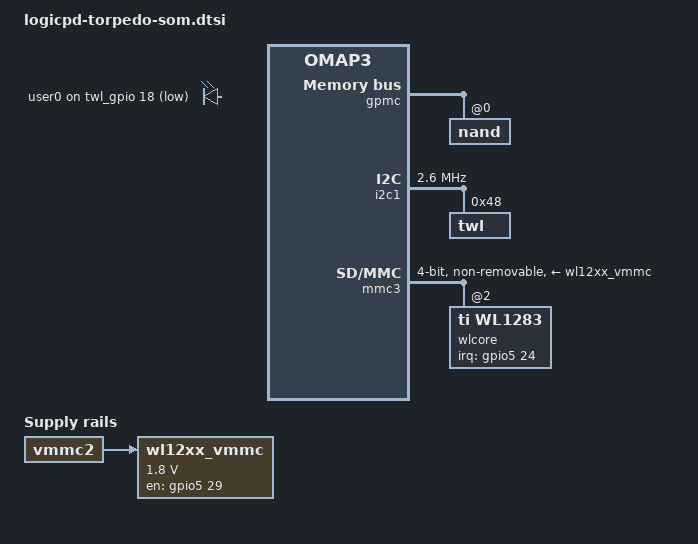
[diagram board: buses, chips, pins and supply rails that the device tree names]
/*
 * This program is free software; you can redistribute it and/or modify
 * it under the terms of the GNU General Public License version 2 as
 * published by the Free Software Foundation.
 */

#include <dt-bindings/input/input.h>

/ {
	cpus {
		cpu@0 {
			cpu0-supply = <&vcc>;
		};
	};

	leds {
		compatible = "gpio-leds";
		user0 {
			label = "user0";
			gpios = <&twl_gpio 18 GPIO_ACTIVE_LOW>;	/* LEDA */
			linux,default-trigger = "none";
		};
	};

	wl12xx_vmmc: wl12xx_vmmc {
		compatible = "regulator-fixed";
		regulator-name = "vwl1271";
		regulator-min-microvolt = <1800000>;
		regulator-max-microvolt = <1800000>;
		gpio = <&gpio5 29 0>;   /* gpio157 */
		startup-delay-us = <70000>;
		enable-active-high;
		vin-supply = <&vmmc2>;
	};
};

&gpmc {
	ranges = <0 0 0x00000000 0x1000000>;	/* CS0: 16MB for NAND */

	nand@0,0 {
		linux,mtd-name = "micron,mt29f4g16abbda3w";
		reg = <0 0 4>; /* CS0, offset 0, IO size 4 */
		nand-bus-width = <16>;
		ti,nand-ecc-opt = "bch8";
		gpmc,sync-clk-ps = <0>;
		gpmc,cs-on-ns = <0>;
		gpmc,cs-rd-off-ns = <44>;
		gpmc,cs-wr-off-ns = <44>;
		gpmc,adv-on-ns = <6>;
		gpmc,adv-rd-off-ns = <34>;
		gpmc,adv-wr-off-ns = <44>;
		gpmc,we-off-ns = <40>;
		gpmc,oe-off-ns = <54>;
		gpmc,access-ns = <64>;
		gpmc,rd-cycle-ns = <82>;
		gpmc,wr-cycle-ns = <82>;
		gpmc,wr-access-ns = <40>;
		gpmc,wr-data-mux-bus-ns = <0>;
		gpmc,device-width = <2>;
		#address-cells = <1>;
		#size-cells = <1>;

		/* u-boot uses mtdparts=omap2-nand.0:512k(x-loader),1920k(u-boot),128k(u-boot-env),4m(kernel),-(fs) */

		x-loader@0 {
			label = "x-loader";
			reg = <0 0x80000>;
		};

		bootloaders@80000 {
			label = "u-boot";
			reg = <0x80000 0x1e0000>;
		};

		bootloaders_env@260000 {
			label = "u-boot-env";
			reg = <0x260000 0x20000>;
		};

		kernel@280000 {
			label = "kernel";
			reg = <0x280000 0x400000>;
		};

		filesystem@680000 {
			label = "fs";
			reg = <0x680000 0>;	/* 0 = MTDPART_SIZ_FULL */
		};
	};
};

&i2c1 {
	pinctrl-names = "default";
	pinctrl-0 = <&i2c1_pins>;
	clock-frequency = <2600000>;

	twl: twl@48 {
		reg = <0x48>;
		interrupts = <7>; /* SYS_NIRQ cascaded to intc */
		interrupt-parent = <&intc>;
	};
};

/*
 * Only found on the wireless SOM. For the SOM without wireless, the pins for
 * MMC3 can be routed with jumpers to the second MMC slot on the devkit and
 * gpio157 is not connected. So this should be OK to keep common for now,
 * probably device tree overlays is the way to go with the various SOM and
 * jumpering combinations for the long run.
 */
&mmc3 {
	interrupts-extended = <&intc 94 &omap3_pmx_core2 0x46>;
	pinctrl-0 = <&mmc3_pins &mmc3_core2_pins>;
	pinctrl-names = "default";
	vmmc-supply = <&wl12xx_vmmc>;
	non-removable;
	bus-width = <4>;
	cap-power-off-card;
	#address-cells = <1>;
	#size-cells = <0>;
	wlcore: wlcore@2 {
		compatible = "ti,wl1283";
		reg = <2>;
		interrupt-parent = <&gpio5>;
		interrupts = <24 IRQ_TYPE_LEVEL_HIGH>; /* gpio 152 */
		ref-clock-frequency = <26000000>;
		tcxo-clock-frequency = <26000000>;
	};
};

&omap3_pmx_core {
	mmc3_pins: pinmux_mm3_pins {
		pinctrl-single,pins = <
			OMAP3_CORE1_IOPAD(0x2164, PIN_INPUT_PULLUP | MUX_MODE3)	/* sdmmc2_dat4.sdmmc3_dat0 */
			OMAP3_CORE1_IOPAD(0x2166, PIN_INPUT_PULLUP | MUX_MODE3)	/* sdmmc2_dat5.sdmmc3_dat1 */
			OMAP3_CORE1_IOPAD(0x2168, PIN_INPUT_PULLUP | MUX_MODE3)	/* sdmmc2_dat6.sdmmc3_dat2 */
			OMAP3_CORE1_IOPAD(0x216a, PIN_INPUT_PULLUP | MUX_MODE3)	/* sdmmc2_dat6.sdmmc3_dat3 */
			OMAP3_CORE1_IOPAD(0x2184, PIN_INPUT_PULLUP | MUX_MODE4)	/* mcbsp4_clkx.gpio_152 */
			OMAP3_CORE1_IOPAD(0x218e, PIN_OUTPUT | MUX_MODE4)	/* mcbsp1_fsr.gpio_157 */
		>;
	};
};

&omap3_pmx_core2 {
	mmc3_core2_pins: pinmux_mmc3_core2_pins {
		pinctrl-single,pins = <
			OMAP3630_CORE2_IOPAD(0x25d8, PIN_INPUT_PULLUP | MUX_MODE2)   /* etk_clk.sdmmc3_clk */
			OMAP3630_CORE2_IOPAD(0x25da, PIN_INPUT_PULLUP | MUX_MODE2)   /* etk_ctl.sdmmc3_cmd */
		>;
	};
	i2c1_pins: pinmux_i2c1_pins {
		pinctrl-single,pins = <
			OMAP3_CORE1_IOPAD(0x21ba, PIN_INPUT | MUX_MODE0)        /* i2c1_scl.i2c1_scl */
			OMAP3_CORE1_IOPAD(0x21bc, PIN_INPUT | MUX_MODE0)        /* i2c1_sda.i2c1_sda */
		>;
	};
};

#include "twl4030.dtsi"
#include "twl4030_omap3.dtsi"

&twl {
	twl_power: power {
		compatible = "ti,twl4030-power-idle-osc-off", "ti,twl4030-power-idle";
		ti,use_poweroff;
	};
};

&twl_gpio {
	ti,use-leds;
};
